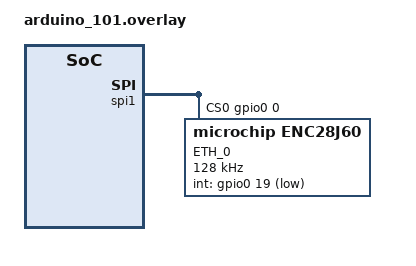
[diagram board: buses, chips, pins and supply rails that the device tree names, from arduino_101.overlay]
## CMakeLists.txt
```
# SPDX-License-Identifier: Apache-2.0

cmake_minimum_required(VERSION 3.28.0)

find_package(Zephyr REQUIRED HINTS $ENV{ZEPHYR_BASE})
project(sockets_echo_client)

if(CONFIG_NET_SOCKETS_SOCKOPT_TLS AND
   CONFIG_MBEDTLS_KEY_EXCHANGE_PSK_ENABLED AND
   (CONFIG_NET_SAMPLE_PSK_HEADER_FILE STREQUAL "dummy_psk.h"))
  add_custom_target(development_psk
    COMMAND ${CMAKE_COMMAND} -E echo "----------------------------------------------------------"
    COMMAND ${CMAKE_COMMAND} -E echo "--- WARNING: Using dummy PSK! Only suitable for        ---"
    COMMAND ${CMAKE_COMMAND} -E echo "--- development. Set NET_SAMPLE_PSK_HEADER_FILE to use ---"
    COMMAND ${CMAKE_COMMAND} -E echo "--- own pre-shared key.                                ---"
    COMMAND ${CMAKE_COMMAND} -E echo "----------------------------------------------------------"
  )
  add_dependencies(app development_psk)
endif()

target_sources(                     app PRIVATE src/echo-client.c)
target_sources_ifdef(CONFIG_NET_UDP app PRIVATE src/udp.c)
target_sources_ifdef(CONFIG_NET_TCP app PRIVATE src/tcp.c)

include(${ZEPHYR_BASE}/samples/net/common/common.cmake)

set(gen_dir ${ZEPHYR_BINARY_DIR}/include/generated/)

generate_inc_file_for_target(
    app
    src/echo-apps-cert.der
    ${gen_dir}/echo-apps-cert.der.inc
    )
```

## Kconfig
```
# Private config options for echo-client sample app

# Copyright (c) 2018 Intel Corporation
# SPDX-License-Identifier: Apache-2.0

mainmenu "Networking echo-client sample application"

config NET_SAMPLE_PSK_HEADER_FILE
	string "Header file containing PSK"
	default "dummy_psk.h"
	depends on MBEDTLS_KEY_EXCHANGE_PSK_ENABLED
	help
	  Name of a header file containing a
	  pre-shared key.

config NET_SAMPLE_SEND_ITERATIONS
	int "Send sample data this many times"
	default 0
	help
	  Send sample data this many times before exiting. A value of
	  zero means that the sample application is run forever.

source "samples/net/common/Kconfig"
source "Kconfig.zephyr"
```

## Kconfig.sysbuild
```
#
# Copyright (c) 2024 Nordic Semiconductor ASA
#
# SPDX-License-Identifier: Apache-2.0
#

config WIFI_NRF70
	default y if BOARD_NRF7002DK_NRF5340_CPUAPP || \
		     BOARD_NRF7002DK_NRF5340_CPUAPP_NS || \
		     BOARD_NRF7002DK_NRF5340_CPUAPP_NRF7001 || \
		     BOARD_NRF7002DK_NRF5340_CPUAPP_NRF7001_NS

source "${ZEPHYR_BASE}/share/sysbuild/Kconfig"
```

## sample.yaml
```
common:
  harness: net
  tags:
    - net
    - socket
  depends_on: netif
  min_flash: 140
sample:
  description: Test network sockets using a client/server sample
  name: Socket Echo Client
tests:
  sample.net.sockets.echo_client:
    platform_allow:
      - qemu_x86
      - frdm_k64f
      - sam_e70_xplained/same70q21
      - qemu_cortex_m3
      - frdm_kw41z
    integration_platforms:
      - qemu_x86
  sample.net.sockets.echo_client.802154:
    extra_args: EXTRA_CONF_FILE="overlay-qemu_802154.conf"
    platform_allow: qemu_x86
  sample.net.sockets.echo_client.802154.rf2xx:
    extra_args: EXTRA_CONF_FILE="overlay-802154.conf"
    platform_allow: samr21_xpro
  sample.net.sockets.echo_client.802154.rf2xx.xplained:
    extra_args:
      - SHIELD=atmel_rf2xx_xplained
      - EXTRA_CONF_FILE="overlay-802154.conf"
    platform_allow: sam4s_xplained
  sample.net.sockets.echo_client.802154.rf2xx.xpro:
    extra_args:
      - SHIELD=atmel_rf2xx_xpro
      - EXTRA_CONF_FILE="overlay-802154.conf"
    platform_allow:
      - sam4e_xpro
      - sam_v71_xult/samv71q21
    integration_platforms:
      - sam_v71_xult/samv71q21
  sample.net.sockets.echo_client.802154.rf2xx.legacy:
    extra_args:
      - SHIELD=atmel_rf2xx_legacy
      - EXTRA_CONF_FILE="overlay-802154.conf"
    platform_allow:
      - sam4e_xpro
      - sam_v71_xult/samv71q21
    integration_platforms:
      - sam_v71_xult/samv71q21
  sample.net.sockets.echo_client.802154.rf2xx.arduino:
    extra_args:
      - SHIELD=atmel_rf2xx_arduino
      - EXTRA_CONF_FILE="overlay-802154.conf"
    platform_allow:
      - sam_v71_xult/samv71q21
      - frdm_k64f
      - nucleo_f767zi
    integration_platforms:
      - sam_v71_xult/samv71q21
  sample.net.sockets.echo_client.802154.rf2xx.mikrobus:
    extra_args:
      - SHIELD=atmel_rf2xx_mikrobus
      - EXTRA_CONF_FILE="overlay-802154.conf"
    platform_allow: lpcxpresso55s69/lpc55s69/cpu0/ns
  sample.net.sockets.echo_client.mcr20a:
    extra_args:
      - SHIELD=frdm_cr20a
      - EXTRA_CONF_FILE=overlay-802154.conf
    platform_allow: frdm_k64f
  sample.net.sockets.echo_client.nrf_802154:
    extra_args: EXTRA_CONF_FILE="overlay-802154.conf"
    platform_allow: nrf52840dk/nrf52840
  sample.net.sockets.echo_client.openthread:
    extra_args: EXTRA_CONF_FILE="overlay-ot.conf"
    slow: true
    tags:
      - net
      - openthread
    platform_allow:
      - frdm_kw41z
      - frdm_mcxw71
      - frdm_mcxw72
      - nrf52840dk/nrf52840
      - tlsr9518adk80d
    filter: CONFIG_FULL_LIBC_SUPPORTED and not CONFIG_NATIVE_LIBC
  sample.net.sockets.echo_client.b91_802154:
    extra_args: EXTRA_CONF_FILE="overlay-802154.conf"
    platform_allow: tlsr9518adk80d
  sample.net.sockets.echo_client.rw612_openthread_rcp_host:
    build_only: true
    extra_args:
      # Disabling monolithic since CI environment doesn't use blobs
      - CONFIG_NXP_MONOLITHIC_NBU=n
      - EXTRA_CONF_FILE="overlay-ot-rcp-host-nxp.conf"
    slow: true
    tags:
      - net
      - openthread
    platform_allow:
      - frdm_rw612
      - rd_rw612_bga
    filter: CONFIG_FULL_LIBC_SUPPORTED and not CONFIG_NATIVE_LIBC
  sample.net.sockets.echo_client.userspace:
    extra_args:
      - CONFIG_USERSPACE=y
      - EXTRA_CONF_FILE="overlay-e1000.conf"
    platform_allow:
      - qemu_x86
      - qemu_x86_64
    integration_platforms:
      - qemu_x86
  sample.net.sockets.echo_client.802154.subg:
    extra_args: EXTRA_CONF_FILE="overlay-802154-subg.conf"
    platform_allow: beagleconnect_freedom
  sample.net.sockets.echo_client.wifi.nrf70dk:
    extra_args:
      - SNIPPET=wifi-ipv4
      - CONFIG_BUILD_ONLY_NO_BLOBS=y
    platform_allow:
      - nrf7002dk/nrf5340/cpuapp
```

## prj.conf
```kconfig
# Generic networking options
CONFIG_NETWORKING=y
CONFIG_NET_UDP=y
CONFIG_NET_TCP=y
CONFIG_NET_IPV6=y
CONFIG_NET_IPV4=y
CONFIG_NET_SOCKETS=y
CONFIG_ZVFS_POLL_MAX=5
CONFIG_NET_CONNECTION_MANAGER=y

CONFIG_POSIX_AEP_CHOICE_NETAPP=y
CONFIG_EVENTFD=y

# Kernel options
CONFIG_MAIN_STACK_SIZE=2048
CONFIG_ENTROPY_GENERATOR=y
CONFIG_TEST_RANDOM_GENERATOR=y
CONFIG_INIT_STACKS=y
CONFIG_MAX_THREAD_BYTES=3

# Logging
CONFIG_NET_LOG=y
CONFIG_LOG=y
CONFIG_NET_STATISTICS=y
CONFIG_PRINTK=y

# Network buffers
CONFIG_NET_PKT_RX_COUNT=16
CONFIG_NET_PKT_TX_COUNT=16
CONFIG_NET_BUF_RX_COUNT=80
CONFIG_NET_BUF_TX_COUNT=80
CONFIG_NET_CONTEXT_NET_PKT_POOL=y

# IP address options
CONFIG_NET_IF_UNICAST_IPV6_ADDR_COUNT=3
CONFIG_NET_IF_MCAST_IPV6_ADDR_COUNT=4
CONFIG_NET_MAX_CONTEXTS=10
CONFIG_NET_IF_MAX_IPV6_COUNT=3
CONFIG_NET_IF_MAX_IPV4_COUNT=3

# Network shell
CONFIG_NET_SHELL=y

# The addresses are selected so that qemu<->qemu connectivity works ok.
# For linux<->qemu connectivity, create a new conf file and swap the
# addresses (so that peer address is ending to 2).
CONFIG_NET_CONFIG_SETTINGS=y
CONFIG_NET_CONFIG_NEED_IPV6=y
CONFIG_NET_CONFIG_MY_IPV6_ADDR="2001:db8::2"
CONFIG_NET_CONFIG_PEER_IPV6_ADDR="2001:db8::1"
CONFIG_NET_CONFIG_NEED_IPV4=y
CONFIG_NET_CONFIG_MY_IPV4_ADDR="192.0.2.2"
CONFIG_NET_CONFIG_PEER_IPV4_ADDR="192.0.2.1"
CONFIG_SYSTEM_WORKQUEUE_STACK_SIZE=2048
```

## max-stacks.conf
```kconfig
CONFIG_NET_MGMT_EVENT_STACK_SIZE=65535
CONFIG_PRIVILEGED_STACK_SIZE=65535
CONFIG_NET_TX_STACK_SIZE=65535
CONFIG_NET_RX_STACK_SIZE=65535
CONFIG_SYSTEM_WORKQUEUE_STACK_SIZE=65535
CONFIG_MAIN_STACK_SIZE=65535
CONFIG_IDLE_STACK_SIZE=65535
CONFIG_ISR_STACK_SIZE=65535
CONFIG_LOG_PROCESS_THREAD_STACK_SIZE=65535
CONFIG_NET_CONNECTION_MANAGER_MONITOR_STACK_SIZE=65535
CONFIG_SHELL_STACK_SIZE=65535
```

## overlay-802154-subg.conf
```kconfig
CONFIG_BT=n

# Disable IPv4
CONFIG_NET_IPV4=n

CONFIG_NET_CONFIG_NEED_IPV6=y
CONFIG_NET_CONFIG_NEED_IPV4=n
CONFIG_NET_CONFIG_MY_IPV4_ADDR=""
CONFIG_NET_CONFIG_PEER_IPV4_ADDR=""
CONFIG_NET_CONFIG_MY_IPV6_ADDR="2001:db8::2"
CONFIG_NET_CONFIG_PEER_IPV6_ADDR="2001:db8::1"

CONFIG_NET_L2_IEEE802154=y
CONFIG_SHELL=y
CONFIG_NET_L2_IEEE802154_SHELL=y
CONFIG_NET_L2_IEEE802154_LOG_LEVEL_INF=y

# Uncomment for 868 MHz
#CONFIG_NET_CONFIG_IEEE802154_CHANNEL=0
# Uncomment for 906 MHz:
CONFIG_NET_CONFIG_IEEE802154_CHANNEL=1
```

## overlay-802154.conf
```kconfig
CONFIG_BT=n

# Disable TCP and IPv4 (TCP disabled to avoid heavy traffic)
CONFIG_NET_TCP=n
CONFIG_NET_IPV4=n

CONFIG_NET_CONFIG_NEED_IPV6=y
CONFIG_NET_CONFIG_NEED_IPV4=n
CONFIG_NET_CONFIG_MY_IPV4_ADDR=""
CONFIG_NET_CONFIG_PEER_IPV4_ADDR=""
CONFIG_NET_CONFIG_MY_IPV6_ADDR="2001:db8::2"
CONFIG_NET_CONFIG_PEER_IPV6_ADDR="2001:db8::1"

CONFIG_NET_L2_IEEE802154=y
CONFIG_SHELL=y
CONFIG_NET_L2_IEEE802154_SHELL=y
CONFIG_NET_L2_IEEE802154_LOG_LEVEL_INF=y

CONFIG_NET_CONFIG_IEEE802154_CHANNEL=26
```

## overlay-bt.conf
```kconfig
CONFIG_BT=y
CONFIG_LOG=y
CONFIG_BT_SMP=y
CONFIG_BT_PERIPHERAL=y
CONFIG_BT_CENTRAL=y
CONFIG_BT_L2CAP_DYNAMIC_CHANNEL=y
CONFIG_BT_DEVICE_NAME="Zephyr Echo Client"
CONFIG_NET_L2_BT=y
CONFIG_NET_IPV4=n
CONFIG_NET_IPV6=y
CONFIG_NET_CONFIG_BT_NODE=y
CONFIG_NET_CONFIG_NEED_IPV6=y
CONFIG_NET_CONFIG_NEED_IPV4=n
CONFIG_NET_CONFIG_MY_IPV4_ADDR=""
CONFIG_NET_CONFIG_PEER_IPV4_ADDR=""
CONFIG_NET_BUF_RX_COUNT=64
```

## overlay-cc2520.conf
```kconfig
CONFIG_NET_L2_IEEE802154=y

CONFIG_NET_IPV4=n
CONFIG_NET_CONFIG_NEED_IPV4=n
CONFIG_NET_CONFIG_MY_IPV4_ADDR=""
CONFIG_NET_CONFIG_PEER_IPV4_ADDR=""
```

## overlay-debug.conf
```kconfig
CONFIG_NO_OPTIMIZATIONS=y
CONFIG_DEBUG=y

CONFIG_ASSERT=y

CONFIG_STACK_SENTINEL=y
CONFIG_STACK_CANARIES=y
```

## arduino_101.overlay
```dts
/*
 * Copyright (c) 2018-2019 Linaro Limited
 *
 * SPDX-License-Identifier: Apache-2.0
 */

&spi1 {
	status = "okay";
	cs-gpios = <&gpio0 0 0>;

	enc28j60@0 {
		compatible = "microchip,enc28j60";
		spi-port-name = "SPI_1";
		local-mac-address = [00 00 00 00 00 00];
		spi-max-frequency = <128000>;
		int-gpios = <&gpio0 19 1>;
		status = "okay";
		label = "ETH_0";
		reg = <0>;
	};
};
```

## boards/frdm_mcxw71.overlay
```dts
/*
 * Copyright 2023-2025 NXP
 *
 * SPDX-License-Identifier: Apache-2.0
 */

&stcm {
	ranges = <0x0 0x30000000 DT_SIZE_K(112)>;

	stcm1: system_memory@1a000 {
		compatible = "zephyr,memory-region","mmio-sram";
		reg = <0x1a000 DT_SIZE_K(4)>;
		zephyr,memory-region = "RetainedMem";
	};
};

&stcm0 {
	/* With only the first 64KB having ECC */
	reg = <0x0 DT_SIZE_K(108)>;
};
```

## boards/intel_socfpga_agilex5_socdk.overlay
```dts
/*
 * Copyright (C) 2024 Intel Corporation
 * SPDX-License-Identifier: Apache-2.0
 */

/* The overlay file should be used to enable any
 * dts nodes required by this application for this
 * board.
 */

&xgmac0 {
	local-mac-address = [06 00 00 00 00 01];
	status = "okay";
};

&mdio0 {
	status = "okay";

	phy0: phy@0 {
		status = "okay";
	};
};
```

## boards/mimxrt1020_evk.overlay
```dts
/*
 * Copyright (c) 2024 DENX Software Engineering GmbH
 *               Lukasz Majewski <lukma@denx.de>
 *
 * SPDX-License-Identifier: Apache-2.0
 */

/*
 * imxrt1020_evk -> HOST
 * nRF21540-DK   -> RCP (nrf/samples/openthread/coprocessor)
 * LPUART2 used for communication:
 *         nRF21540 (P6) P0.08 RXD -> IMXRT1020-EVK (J17) D1 (GPIO B1 08) (TXD)
 *         nRF21540 (P6) P0.07 CTS -> IMXRT1020-EVK (J19) D8 (GPIO B1 07) (RTS)
 *         nRF21540 (P6) P0.06 TXD -> IMXRT1020-EVK (J17) D0 (GPIO B1 09) (RXD)
 *         nRF21540 (P6) P0.05 RTS -> IMXRT1020-EVK (J17) D7 (GPIO B1 06) (CTS)
 */

/**
 * Overlay to enable support for OpenThread's RCP UART communication
 * on the imxrt1020_evk board.
 */

/ {
	chosen {
		zephyr,hdlc-rcp-if = &hdlc_rcp_if;
		zephyr,ot-uart = &lpuart2;
	};

	hdlc_rcp_if: hdlc_rcp_if {
		compatible = "uart,hdlc-rcp-if";
	};
};

&lpuart2 {
	current-speed = <1000000>;
	pinctrl-0 = <&pinmux_lpuart2_flowcontrol>;
	pinctrl-1 = <&pinmux_lpuart2_sleep>;
	pinctrl-names = "default", "sleep";
	hw-flow-control;
	status = "okay";
};

/*
 * The lpuart2's CTS pin is mapped to PHY's int-gpio or to SDRAM EMC 20.
 * As SPINEL UART's implementation required CTS/RTS flow control -
 * the PHY's mdio interrupt needs to be disabled.
 */
&phy {
	/delete-property/ int-gpios;
};

&pinctrl {
	pinmux_lpuart2_flowcontrol: pinmux_lpuart2_flowcontrol {
		group0 {
			pinmux = <&iomuxc_gpio_ad_b1_09_lpuart2_rx>,
				 <&iomuxc_gpio_ad_b1_08_lpuart2_tx>,
				 <&iomuxc_gpio_ad_b1_06_lpuart2_cts_b>,
				 <&iomuxc_gpio_ad_b1_07_lpuart2_rts_b>;
			drive-strength = "r0-6";
			slew-rate = "slow";
			nxp,speed = "100-mhz";
		};
	};
};

/delete-node/ &{/soc/iomuxc@401f8000/pinctrl/pinmux_enet_mdio/group1};
```

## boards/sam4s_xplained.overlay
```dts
/*
 * Copyright (c) 2020 Gerson Fernando Budke
 *
 * SPDX-License-Identifier: Apache-2.0
 */

&spi0 {
        status = "okay";
        label = "SPI_RF2XX";
        cs-gpios = <&pioa 31 (GPIO_PULL_UP | GPIO_ACTIVE_LOW)>;
        pinctrl-0 = <&pa12a_spi_miso &pa13a_spi_mosi &pa14a_spi_spck &pa31a_spi_npcs1>;

        rf2xx@0 {
                compatible = "atmel,rf2xx";
                reg = <0x0>;
                label = "RF2XX_0";
                spi-max-frequency = <6000000>;
                irq-gpios = <&piob 2 (GPIO_PULL_DOWN | GPIO_ACTIVE_HIGH)>;
                reset-gpios = <&pioa 3 GPIO_ACTIVE_LOW>;
                slptr-gpios = <&piob 3 GPIO_ACTIVE_HIGH>;
                status = "okay";
        };
};
```

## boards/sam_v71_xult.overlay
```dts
/*
 * Copyright (c) 2020 Gerson Fernando Budke
 *
 * SPDX-License-Identifier: Apache-2.0
 */

&spi0 {
        status = "okay";
        label = "SPI_RF2XX";
        cs-gpios = <&piod 25 (GPIO_PULL_UP | GPIO_ACTIVE_LOW)>;
        pinctrl-0 = <&pc26c_spi1_miso &pc27c_spi1_mosi &pc24c_spi1_spck &pd25b_spi0_npcs1>;

        rf2xx@0 {
                compatible = "atmel,rf2xx";
                reg = <0x0>;
                label = "RF2XX_0";
                spi-max-frequency = <6000000>;
                irq-gpios = <&piob 0 (GPIO_PULL_DOWN | GPIO_ACTIVE_HIGH)>;
                reset-gpios = <&pioa 3 GPIO_ACTIVE_LOW>;
                slptr-gpios = <&piob 1 GPIO_ACTIVE_HIGH>;
                status = "okay";
        };
};
```

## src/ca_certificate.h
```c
/*
 * Copyright (c) 2018 Nordic Semiconductor ASA
 *
 * SPDX-License-Identifier: Apache-2.0
 */

#ifndef __CA_CERTIFICATE_H__
#define __CA_CERTIFICATE_H__

#define CA_CERTIFICATE_TAG 1
#define PSK_TAG 2

#define TLS_PEER_HOSTNAME "localhost"

/* This is the same cert as what is found in net-tools/echo-apps-cert.pem file
 */
static const unsigned char ca_certificate[] = {
#include "echo-apps-cert.der.inc"
};

#if defined(CONFIG_MBEDTLS_KEY_EXCHANGE_PSK_ENABLED)
#include CONFIG_NET_SAMPLE_PSK_HEADER_FILE
#endif

#endif /* __CA_CERTIFICATE_H__ */
```

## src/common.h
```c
/*
 * Copyright (c) 2017 Intel Corporation.
 * Copyright (c) 2018 Nordic Semiconductor ASA.
 *
 * SPDX-License-Identifier: Apache-2.0
 */

#include <zephyr/kernel.h>

#include <net_sample_common.h>

/* Value of 0 will cause the IP stack to select next free port */
#define MY_PORT 0

#define PEER_PORT 4242

/* Turn off the progress printing so that shell can be used.
 * Set to true if you want to see progress output.
 */
#define PRINT_PROGRESS false

#if defined(CONFIG_USERSPACE)
#include <zephyr/app_memory/app_memdomain.h>
extern struct k_mem_partition app_partition;
extern struct k_mem_domain app_domain;
#define APP_BMEM K_APP_BMEM(app_partition)
#define APP_DMEM K_APP_DMEM(app_partition)
#else
#define APP_BMEM
#define APP_DMEM
#endif

#if defined(CONFIG_NET_TC_THREAD_PREEMPTIVE)
#define THREAD_PRIORITY K_PRIO_PREEMPT(8)
#else
#define THREAD_PRIORITY K_PRIO_COOP(CONFIG_NUM_COOP_PRIORITIES - 1)
#endif

#define UDP_STACK_SIZE 2048

struct udp_control {
	struct k_poll_signal tx_signal;
	struct k_timer tx_timer;
	struct k_timer rx_timer;
};

struct sample_data {
	const char *proto;

	struct {
		int sock;
		uint32_t expecting;
		uint32_t counter;
		uint32_t mtu;
		struct udp_control *ctrl;
	} udp;

	struct {
		int sock;
		uint32_t expecting;
		uint32_t received;
		uint32_t counter;
	} tcp;
};

struct configs {
	struct sample_data ipv4;
	struct sample_data ipv6;
};

#if !defined(CONFIG_NET_CONFIG_PEER_IPV4_ADDR)
#define CONFIG_NET_CONFIG_PEER_IPV4_ADDR ""
#endif

#if !defined(CONFIG_NET_CONFIG_PEER_IPV6_ADDR)
#define CONFIG_NET_CONFIG_PEER_IPV6_ADDR ""
#endif

extern const char lorem_ipsum[];
extern const int ipsum_len;
extern struct configs conf;

#if defined(CONFIG_NET_UDP)
/* init_udp initializes kernel objects, hence it has to be called from
 * supervisor thread.
 */
void init_udp(void);
int start_udp(void);
int process_udp(void);
void stop_udp(void);
#else
static inline void init_udp(void) { }
static inline int start_udp(void) { return 0; }
static inline int process_udp(void) { return 0; }
static inline void stop_udp(void) { }
#endif /* defined(CONFIG_NET_UDP) */

int start_tcp(void);
int process_tcp(void);
void stop_tcp(void);
```

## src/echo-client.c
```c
/* echo-client.c - Networking echo client */

/*
 * Copyright (c) 2017 Intel Corporation.
 * Copyright (c) 2018 Nordic Semiconductor ASA.
 *
 * SPDX-License-Identifier: Apache-2.0
 */

/*
 * The echo-client application is acting as a client that is run in Zephyr OS,
 * and echo-server is run in the host acting as a server. The client will send
 * either unicast or multicast packets to the server which will reply the packet
 * back to the originator.
 *
 * In this sample application we create four threads that start to send data.
 * This might not be what you want to do in your app so caveat emptor.
 */

#include <zephyr/logging/log.h>
LOG_MODULE_REGISTER(net_echo_client_sample, LOG_LEVEL_DBG);

#include <zephyr/kernel.h>
#include <errno.h>
#include <stdio.h>

#include <zephyr/posix/sys/eventfd.h>
#include <zephyr/posix/arpa/inet.h>
#include <zephyr/posix/poll.h>

#include <zephyr/misc/lorem_ipsum.h>
#include <zephyr/net/socket.h>
#include <zephyr/net/tls_credentials.h>
#include <zephyr/net/net_if.h>
#include <zephyr/net/net_mgmt.h>
#include <zephyr/net/net_event.h>
#include <zephyr/net/conn_mgr_monitor.h>

#if defined(CONFIG_USERSPACE)
#include <zephyr/app_memory/app_memdomain.h>
K_APPMEM_PARTITION_DEFINE(app_partition);
struct k_mem_domain app_domain;
#endif

#include "common.h"
#include "ca_certificate.h"

#define APP_BANNER "Run echo client"

#define INVALID_SOCK (-1)

#define EVENT_MASK (NET_EVENT_L4_CONNECTED | \
		    NET_EVENT_L4_DISCONNECTED)
#define IPV6_EVENT_MASK (NET_EVENT_IPV6_ADDR_ADD | \
			 NET_EVENT_IPV6_ADDR_DEPRECATED)

const char lorem_ipsum[] = LOREM_IPSUM;

const int ipsum_len = sizeof(lorem_ipsum) - 1;

APP_DMEM struct configs conf = {
	.ipv4 = {
		.proto = "IPv4",
		.udp.sock = INVALID_SOCK,
		.tcp.sock = INVALID_SOCK,
	},
	.ipv6 = {
		.proto = "IPv6",
		.udp.sock = INVALID_SOCK,
		.tcp.sock = INVALID_SOCK,
	},
};

static APP_BMEM struct pollfd fds[1 + 4];
static APP_BMEM int nfds;

static APP_BMEM bool connected;
static APP_BMEM bool need_restart;

K_SEM_DEFINE(run_app, 0, 1);

static struct net_mgmt_event_callback mgmt_cb;
static struct net_mgmt_event_callback ipv6_mgmt_cb;

static void prepare_fds(void)
{
	nfds = 0;

	/* eventfd is used to trigger restart */
	fds[nfds].fd = eventfd(0, 0);
	fds[nfds].events = POLLIN;
	nfds++;

	if (conf.ipv4.udp.sock >= 0) {
		fds[nfds].fd = conf.ipv4.udp.sock;
		fds[nfds].events = POLLIN;
		nfds++;
	}

	if (conf.ipv4.tcp.sock >= 0) {
		fds[nfds].fd = conf.ipv4.tcp.sock;
		fds[nfds].events = POLLIN;
		nfds++;
	}

	if (conf.ipv6.udp.sock >= 0) {
		fds[nfds].fd = conf.ipv6.udp.sock;
		fds[nfds].events = POLLIN;
		nfds++;
	}

	if (conf.ipv6.tcp.sock >= 0) {
		fds[nfds].fd = conf.ipv6.tcp.sock;
		fds[nfds].events = POLLIN;
		nfds++;
	}
}

static void wait(void)
{
	int ret;

	/* Wait for event on any socket used. Once event occurs,
	 * we'll check them all.
	 */
	ret = poll(fds, nfds, -1);
	if (ret < 0) {
		static bool once;

		if (!once) {
			once = true;
			LOG_ERR("Error in poll:%d", errno);
		}

		return;
	}

	if (ret > 0 && fds[0].revents) {
		eventfd_t value;

		eventfd_read(fds[0].fd, &value);
		LOG_DBG("Received restart event.");
		return;
	}
}

static int start_udp_and_tcp(void)
{
	int ret;

	LOG_INF("Starting...");

	if (IS_ENABLED(CONFIG_NET_TCP)) {
		ret = start_tcp();
		if (ret < 0) {
			return ret;
		}
	}

	if (IS_ENABLED(CONFIG_NET_UDP)) {
		ret = start_udp();
		if (ret < 0) {
			return ret;
		}
	}

	prepare_fds();

	return 0;
}

static int run_udp_and_tcp(void)
{
	int ret;

	wait();

	if (IS_ENABLED(CONFIG_NET_TCP)) {
		ret = process_tcp();
		if (ret < 0) {
			return ret;
		}
	}

	if (IS_ENABLED(CONFIG_NET_UDP)) {
		ret = process_udp();
		if (ret < 0) {
			return ret;
		}
	}

	return 0;
}

static void stop_udp_and_tcp(void)
{
	LOG_INF("Stopping...");

	if (IS_ENABLED(CONFIG_NET_UDP)) {
		stop_udp();
	}

	if (IS_ENABLED(CONFIG_NET_TCP)) {
		stop_tcp();
	}
}

static int check_our_ipv6_sockets(int sock,
				  struct in6_addr *deprecated_addr)
{
	struct sockaddr_in6 addr = { 0 };
	socklen_t addrlen = sizeof(addr);
	int ret;

	if (sock < 0) {
		return -EINVAL;
	}

	ret = getsockname(sock, (struct sockaddr *)&addr, &addrlen);
	if (ret != 0) {
		return -errno;
	}

	if (!net_ipv6_addr_cmp(deprecated_addr, &addr.sin6_addr)) {
		return -ENOENT;
	}

	need_restart = true;

	return 0;
}

static void ipv6_event_handler(struct net_mgmt_event_callback *cb,
			       uint64_t mgmt_event, struct net_if *iface)
{
	static char addr_str[INET6_ADDRSTRLEN];

	if (!IS_ENABLED(CONFIG_NET_IPV6_PE)) {
		return;
	}

	if ((mgmt_event & IPV6_EVENT_MASK) != mgmt_event) {
		return;
	}

	if (cb->info == NULL ||
	    cb->info_length != sizeof(struct in6_addr)) {
		return;
	}

	if (mgmt_event == NET_EVENT_IPV6_ADDR_ADD) {
		struct net_if_addr *ifaddr;
		struct in6_addr added_addr;

		memcpy(&added_addr, cb->info, sizeof(struct in6_addr));

		ifaddr = net_if_ipv6_addr_lookup(&added_addr, &iface);
		if (ifaddr == NULL) {
			return;
		}

		/* Wait until we get a temporary address before continuing after
		 * boot.
		 */
		if (ifaddr->is_temporary) {
			static bool once;

			LOG_INF("Temporary IPv6 address %s added",
				inet_ntop(AF_INET6, &added_addr, addr_str,
					  sizeof(addr_str) - 1));

			if (!once) {
				k_sem_give(&run_app);
				once = true;
			}
		}
	}

	if (mgmt_event == NET_EVENT_IPV6_ADDR_DEPRECATED) {
		struct in6_addr deprecated_addr;

		memcpy(&deprecated_addr, cb->info, sizeof(struct in6_addr));

		LOG_INF("IPv6 address %s deprecated",
			inet_ntop(AF_INET6, &deprecated_addr, addr_str,
				  sizeof(addr_str) - 1));

		(void)check_our_ipv6_sockets(conf.ipv6.tcp.sock,
					     &deprecated_addr);
		(void)check_our_ipv6_sockets(conf.ipv6.udp.sock,
					     &deprecated_addr);

		if (need_restart) {
			eventfd_write(fds[0].fd, 1);
		}

		return;
	}
}

static void event_handler(struct net_mgmt_event_callback *cb,
			  uint64_t mgmt_event, struct net_if *iface)
{
	if ((mgmt_event & EVENT_MASK) != mgmt_event) {
		return;
	}

	if (mgmt_event == NET_EVENT_L4_CONNECTED) {
		LOG_INF("Network connected");

		connected = true;
		conf.ipv4.udp.mtu = net_if_get_mtu(iface);
		conf.ipv6.udp.mtu = conf.ipv4.udp.mtu;

		if (!IS_ENABLED(CONFIG_NET_IPV6_PE)) {
			k_sem_give(&run_app);
		}

		return;
	}

	if (mgmt_event == NET_EVENT_L4_DISCONNECTED) {
		LOG_INF("Network disconnected");

		connected = false;
		k_sem_reset(&run_app);

		return;
	}
}

static void init_app(void)
{
	LOG_INF(APP_BANNER);

#if defined(CONFIG_USERSPACE)
	struct k_mem_partition *parts[] = {
#if Z_LIBC_PARTITION_EXISTS
		&z_libc_partition,
#endif
		&app_partition
	};

	int ret = k_mem_domain_init(&app_domain, ARRAY_SIZE(parts), parts);

	__ASSERT(ret == 0, "k_mem_domain_init() failed %d", ret);
	ARG_UNUSED(ret);
#endif

#if defined(CONFIG_NET_SOCKETS_SOCKOPT_TLS)
	int err = tls_credential_add(CA_CERTIFICATE_TAG,
				    TLS_CREDENTIAL_CA_CERTIFICATE,
				    ca_certificate,
				    sizeof(ca_certificate));
	if (err < 0) {
		LOG_ERR("Failed to register public certificate: %d", err);
	}

#if defined(CONFIG_MBEDTLS_KEY_EXCHANGE_PSK_ENABLED)
	err = tls_credential_add(PSK_TAG,
				TLS_CREDENTIAL_PSK,
				psk,
				sizeof(psk));
	if (err < 0) {
		LOG_ERR("Failed to register PSK: %d", err);
	}
	err = tls_credential_add(PSK_TAG,
				TLS_CREDENTIAL_PSK_ID,
				psk_id,
				sizeof(psk_id) - 1);
	if (err < 0) {
		LOG_ERR("Failed to register PSK ID: %d", err);
	}
#endif /* defined(CONFIG_MBEDTLS_KEY_EXCHANGE_PSK_ENABLED) */
#endif /* defined(CONFIG_NET_SOCKETS_SOCKOPT_TLS) */


	if (IS_ENABLED(CONFIG_NET_CONNECTION_MANAGER)) {
		net_mgmt_init_event_callback(&mgmt_cb,
					     event_handler, EVENT_MASK);
		net_mgmt_add_event_callback(&mgmt_cb);

		conn_mgr_mon_resend_status();
	}

	net_mgmt_init_event_callback(&ipv6_mgmt_cb,
				     ipv6_event_handler, IPV6_EVENT_MASK);
	net_mgmt_add_event_callback(&ipv6_mgmt_cb);

	init_vlan();
	init_udp();
}

static void start_client(void *p1, void *p2, void *p3)
{
	ARG_UNUSED(p1);
	ARG_UNUSED(p2);
	ARG_UNUSED(p3);

	int iterations = CONFIG_NET_SAMPLE_SEND_ITERATIONS;
	int i = 0;
	int ret;

	while (iterations == 0 || i < iterations) {
		/* Wait for the connection. */
		k_sem_take(&run_app, K_FOREVER);

		if (IS_ENABLED(CONFIG_NET_IPV6_PE)) {
			/* Make sure that we have a temporary address */
			k_sleep(K_SECONDS(1));
		}

		do {
			if (need_restart) {
				/* Close all sockets and get a fresh restart */
				stop_udp_and_tcp();
				need_restart = false;
			}

			ret = start_udp_and_tcp();

			while (connected && (ret == 0)) {
				ret = run_udp_and_tcp();

				if (iterations > 0) {
					i++;
					if (i >= iterations) {
						break;
					}
				}

				if (need_restart) {
					break;
				}
			}
		} while (need_restart);

		stop_udp_and_tcp();
	}
}

int main(void)
{
	init_app();

	if (!IS_ENABLED(CONFIG_NET_CONNECTION_MANAGER)) {
		/* If the config library has not been configured to start the
		 * app only after we have a connection, then we can start
		 * it right away.
		 */
		connected = true;
		k_sem_give(&run_app);
	}

	k_thread_priority_set(k_current_get(), THREAD_PRIORITY);

#if defined(CONFIG_USERSPACE)
	k_thread_access_grant(k_current_get(), &run_app);
	k_mem_domain_add_thread(&app_domain, k_current_get());

	k_thread_user_mode_enter(start_client, NULL, NULL, NULL);
#else
	start_client(NULL, NULL, NULL);
#endif
	return 0;
}
```

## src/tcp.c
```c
/* tcp.c - TCP specific code for echo client */

/*
 * Copyright (c) 2017 Intel Corporation.
 * Copyright (c) 2018 Nordic Semiconductor ASA.
 *
 * SPDX-License-Identifier: Apache-2.0
 */

#include <zephyr/logging/log.h>
LOG_MODULE_DECLARE(net_echo_client_sample, LOG_LEVEL_DBG);

#include <zephyr/kernel.h>
#include <errno.h>
#include <stdio.h>

#include <zephyr/posix/sys/socket.h>
#include <zephyr/posix/arpa/inet.h>
#include <zephyr/posix/unistd.h>

#include <zephyr/net/socket.h>
#include <zephyr/net/tls_credentials.h>
#include <zephyr/random/random.h>

#include "common.h"
#include "ca_certificate.h"

#define RECV_BUF_SIZE 128

/* These proxy server addresses are only used when CONFIG_SOCKS
 * is enabled. To connect to a proxy server that is not running
 * under the same IP as the peer or uses a different port number,
 * modify the values.
 */
#define SOCKS5_PROXY_V6_ADDR CONFIG_NET_CONFIG_PEER_IPV6_ADDR
#define SOCKS5_PROXY_V4_ADDR CONFIG_NET_CONFIG_PEER_IPV4_ADDR
#define SOCKS5_PROXY_PORT 1080

static ssize_t sendall(int sock, const void *buf, size_t len)
{
	while (len) {
		ssize_t out_len = send(sock, buf, len, 0);

		if (out_len < 0) {
			return out_len;
		}
		buf = (const char *)buf + out_len;
		len -= out_len;
	}

	return 0;
}

static int send_tcp_data(struct sample_data *data)
{
	int ret;

	do {
		data->tcp.expecting = sys_rand32_get() % ipsum_len;
	} while (data->tcp.expecting == 0U);

	data->tcp.received = 0U;

	ret =  sendall(data->tcp.sock, lorem_ipsum, data->tcp.expecting);

	if (ret < 0) {
		LOG_ERROR("%s TCP: Failed to send data, errno %d", data->proto, errno);
	} else {
		if (PRINT_PROGRESS) {
			LOG_DBG("%s TCP: Sent %d bytes", data->proto,
				data->tcp.expecting);
		}
	}

	return ret;
}

static int compare_tcp_data(struct sample_data *data, const char *buf, uint32_t received)
{
	if (data->tcp.received + received > data->tcp.expecting) {
		LOG_ERROR("Too much data received: TCP %s", data->proto);
		return -EIO;
	}

	if (memcmp(buf, lorem_ipsum + data->tcp.received, received) != 0) {
		LOG_ERROR("Invalid data received: TCP %s", data->proto);
		return -EIO;
	}

	return 0;
}

static int start_tcp_proto(struct sample_data *data, sa_family_t family,
			   struct sockaddr *addr, socklen_t addrlen)
{
	int optval;
	int ret;

#if defined(CONFIG_NET_SOCKETS_SOCKOPT_TLS)
	data->tcp.sock = socket(family, SOCK_STREAM, IPPROTO_TLS_1_2);
#else
	data->tcp.sock = socket(family, SOCK_STREAM, IPPROTO_TCP);
#endif
	if (data->tcp.sock < 0) {
		LOG_ERROR("Failed to create TCP socket (%s): %d", data->proto, errno);
		return -errno;
	}

	if (IS_ENABLED(CONFIG_SOCKS)) {
		struct sockaddr proxy_addr;
		socklen_t proxy_addrlen;

		if (family == AF_INET) {
			struct sockaddr_in *proxy4 =
				(struct sockaddr_in *)&proxy_addr;

			proxy4->sin_family = AF_INET;
			proxy4->sin_port = htons(SOCKS5_PROXY_PORT);
			inet_pton(AF_INET, SOCKS5_PROXY_V4_ADDR,
				  &proxy4->sin_addr);
			proxy_addrlen = sizeof(struct sockaddr_in);
		} else if (family == AF_INET6) {
			struct sockaddr_in6 *proxy6 =
				(struct sockaddr_in6 *)&proxy_addr;

			proxy6->sin6_family = AF_INET6;
			proxy6->sin6_port = htons(SOCKS5_PROXY_PORT);
			inet_pton(AF_INET6, SOCKS5_PROXY_V6_ADDR,
				  &proxy6->sin6_addr);
			proxy_addrlen = sizeof(struct sockaddr_in6);
		} else {
			return -EINVAL;
		}

		ret = setsockopt(data->tcp.sock, SOL_SOCKET, SO_SOCKS5,
				 &proxy_addr, proxy_addrlen);
		if (ret < 0) {
			return ret;
		}
	}

#if defined(CONFIG_NET_SOCKETS_SOCKOPT_TLS)
	sec_tag_t sec_tag_list[] = {
		CA_CERTIFICATE_TAG,
#if defined(CONFIG_MBEDTLS_KEY_EXCHANGE_PSK_ENABLED)
		PSK_TAG,
#endif
	};

	ret = setsockopt(data->tcp.sock, SOL_TLS, TLS_SEC_TAG_LIST,
			 sec_tag_list, sizeof(sec_tag_list));
	if (ret < 0) {
		LOG_ERROR("Failed to set TLS_SEC_TAG_LIST option (%s): %d", data->proto, errno);
		ret = -errno;
	}

	ret = setsockopt(data->tcp.sock, SOL_TLS, TLS_HOSTNAME,
			 TLS_PEER_HOSTNAME, sizeof(TLS_PEER_HOSTNAME));
	if (ret < 0) {
		LOG_ERROR("Failed to set TLS_HOSTNAME option (%s): %d", data->proto, errno);
		ret = -errno;
	}
#endif

	/* Prefer IPv6 temporary addresses */
	if (family == AF_INET6) {
		optval = IPV6_PREFER_SRC_TMP;
		(void)setsockopt(data->tcp.sock, IPPROTO_IPV6,
				 IPV6_ADDR_PREFERENCES,
				 &optval, sizeof(optval));
	}

	ret = connect(data->tcp.sock, addr, addrlen);
	if (ret < 0) {
		LOG_ERROR("Cannot connect to TCP remote (%s): %d", data->proto, errno);
		ret = -errno;
	}

	return ret;
}

static int process_tcp_proto(struct sample_data *data)
{
	int ret, received;
	char buf[RECV_BUF_SIZE];

	do {
		received = recv(data->tcp.sock, buf, sizeof(buf), MSG_DONTWAIT);

		/* No data or error. */
		if (received == 0) {
			ret = -EIO;
			continue;
		} else if (received < 0) {
			if (errno == EAGAIN || errno == EWOULDBLOCK) {
				ret = 0;
			} else {
				ret = -errno;
			}
			continue;
		}

		ret = compare_tcp_data(data, buf, received);
		if (ret != 0) {
			break;
		}

		/* Successful comparison. */
		data->tcp.received += received;
		if (data->tcp.received < data->tcp.expecting) {
			continue;
		}

		if (PRINT_PROGRESS) {
			/* Response complete */
			LOG_DBG("%s TCP: Received and compared %d bytes, all ok",
				data->proto, data->tcp.received);
		}

		if (++data->tcp.counter % 1000 == 0U) {
			LOG_INF("%s TCP: Exchanged %u packets", data->proto,
				data->tcp.counter);
		}

		ret = send_tcp_data(data);
		break;
	} while (received > 0);

	return ret;
}

int start_tcp(void)
{
	int ret = 0;
	struct sockaddr_in addr4;
	struct sockaddr_in6 addr6;

	if (IS_ENABLED(CONFIG_NET_IPV6)) {
		addr6.sin6_family = AF_INET6;
		addr6.sin6_port = htons(PEER_PORT);
		inet_pton(AF_INET6, CONFIG_NET_CONFIG_PEER_IPV6_ADDR,
			  &addr6.sin6_addr);

		ret = start_tcp_proto(&conf.ipv6, AF_INET6,
				      (struct sockaddr *)&addr6,
				      sizeof(addr6));
		if (ret < 0) {
			return ret;
		}
	}

	if (IS_ENABLED(CONFIG_NET_IPV4)) {
		addr4.sin_family = AF_INET;
		addr4.sin_port = htons(PEER_PORT);
		inet_pton(AF_INET, CONFIG_NET_CONFIG_PEER_IPV4_ADDR,
			  &addr4.sin_addr);

		ret = start_tcp_proto(&conf.ipv4, AF_INET,
				      (struct sockaddr *)&addr4,
				      sizeof(addr4));
		if (ret < 0) {
			return ret;
		}
	}

	if (IS_ENABLED(CONFIG_NET_IPV6)) {
		ret = send_tcp_data(&conf.ipv6);
		if (ret < 0) {
			return ret;
		}
	}

	if (IS_ENABLED(CONFIG_NET_IPV4)) {
		ret = send_tcp_data(&conf.ipv4);
	}

	return ret;
}

int process_tcp(void)
{
	int ret = 0;

	if (IS_ENABLED(CONFIG_NET_IPV6)) {
		ret = process_tcp_proto(&conf.ipv6);
		if (ret < 0) {
			return ret;
		}
	}

	if (IS_ENABLED(CONFIG_NET_IPV4)) {
		ret = process_tcp_proto(&conf.ipv4);
		if (ret < 0) {
			return ret;
		}
	}

	return ret;
}

void stop_tcp(void)
{
	if (IS_ENABLED(CONFIG_NET_IPV6)) {
		if (conf.ipv6.tcp.sock >= 0) {
			(void)close(conf.ipv6.tcp.sock);
		}
	}

	if (IS_ENABLED(CONFIG_NET_IPV4)) {
		if (conf.ipv4.tcp.sock >= 0) {
			(void)close(conf.ipv4.tcp.sock);
		}
	}
}
```

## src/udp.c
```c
/* udp.c - UDP specific code for echo client */

/*
 * Copyright (c) 2017 Intel Corporation.
 * Copyright (c) 2018 Nordic Semiconductor ASA.
 *
 * SPDX-License-Identifier: Apache-2.0
 */

#include <zephyr/logging/log.h>
LOG_MODULE_DECLARE(net_echo_client_sample, LOG_LEVEL_DBG);

#include <zephyr/kernel.h>
#include <errno.h>
#include <stdio.h>

#include <zephyr/posix/sys/socket.h>
#include <zephyr/posix/arpa/inet.h>
#include <zephyr/posix/unistd.h>

#include <zephyr/net/socket.h>
#include <zephyr/net/tls_credentials.h>
#include <zephyr/random/random.h>

#include "common.h"
#include "ca_certificate.h"

#define RECV_BUF_SIZE 1280
#define UDP_SLEEP K_MSEC(150)
#define UDP_WAIT K_SECONDS(10)

static APP_BMEM char recv_buf[RECV_BUF_SIZE];

static K_THREAD_STACK_DEFINE(udp_tx_thread_stack, UDP_STACK_SIZE);
static struct k_thread udp_tx_thread;

/* Kernel objects should not be placed in a memory area accessible from user
 * threads.
 */
static struct udp_control udp4_ctrl, udp6_ctrl;
static struct k_poll_signal udp_kill;

static int send_udp_data(struct sample_data *data);
static void wait_reply(struct k_timer *timer);
static void wait_transmit(struct k_timer *timer);

static void process_udp_tx(void *p1, void *p2, void *p3)
{
	ARG_UNUSED(p1);
	ARG_UNUSED(p2);
	ARG_UNUSED(p3);

	struct k_poll_event events[] = {
		K_POLL_EVENT_INITIALIZER(K_POLL_TYPE_SIGNAL,
					 K_POLL_MODE_NOTIFY_ONLY,
					 &udp_kill),
#if defined(CONFIG_NET_IPV4)
		K_POLL_EVENT_INITIALIZER(K_POLL_TYPE_SIGNAL,
					 K_POLL_MODE_NOTIFY_ONLY,
					 &udp4_ctrl.tx_signal),
#endif
#if defined(CONFIG_NET_IPV6)
		K_POLL_EVENT_INITIALIZER(K_POLL_TYPE_SIGNAL,
					 K_POLL_MODE_NOTIFY_ONLY,
					 &udp6_ctrl.tx_signal),
#endif
	};

	while (true) {
		k_poll(events, ARRAY_SIZE(events), K_FOREVER);

		for (int i = 0; i < ARRAY_SIZE(events); i++) {
			unsigned int signaled;
			int result;

			k_poll_signal_check(events[i].signal, &signaled, &result);
			if (signaled == 0) {
				continue;
			}

			k_poll_signal_reset(events[i].signal);
			events[i].state = K_POLL_STATE_NOT_READY;

			if (events[i].signal == &udp_kill) {
				return;
			} else if (events[i].signal == &udp4_ctrl.tx_signal) {
				send_udp_data(&conf.ipv4);
			} else if (events[i].signal == &udp6_ctrl.tx_signal) {
				send_udp_data(&conf.ipv6);
			}
		}
	}
}

static void udp_control_init(struct udp_control *ctrl)
{
	k_timer_init(&ctrl->rx_timer, wait_reply, NULL);
	k_timer_init(&ctrl->tx_timer, wait_transmit, NULL);
	k_poll_signal_init(&ctrl->tx_signal);
}

static void udp_control_access_grant(struct udp_control *ctrl)
{
	k_thread_access_grant(k_current_get(),
			      &ctrl->rx_timer,
			      &ctrl->tx_timer,
			      &ctrl->tx_signal);
}

void init_udp(void)
{
	/* k_timer_init() is not a system call, therefore initialize kernel
	 * objects here.
	 */
	if (IS_ENABLED(CONFIG_NET_IPV4)) {
		udp_control_init(&udp4_ctrl);
		conf.ipv4.udp.ctrl = &udp4_ctrl;
	}

	if (IS_ENABLED(CONFIG_NET_IPV6)) {
		udp_control_init(&udp6_ctrl);
		conf.ipv6.udp.ctrl = &udp6_ctrl;
	}

	k_poll_signal_init(&udp_kill);

	if (IS_ENABLED(CONFIG_USERSPACE)) {
		k_thread_access_grant(k_current_get(),
				      &udp_tx_thread,
				      &udp_tx_thread_stack,
				      &udp_kill);

		if (IS_ENABLED(CONFIG_NET_IPV4)) {
			udp_control_access_grant(&udp4_ctrl);
		}

		if (IS_ENABLED(CONFIG_NET_IPV6)) {
			udp_control_access_grant(&udp6_ctrl);
		}
	}
}

static int send_udp_data(struct sample_data *data)
{
	int ret;

	do {
		data->udp.expecting = sys_rand32_get() % ipsum_len;
	} while (data->udp.expecting == 0U ||
		 data->udp.expecting > data->udp.mtu);

	ret = send(data->udp.sock, lorem_ipsum, data->udp.expecting, 0);

	if (PRINT_PROGRESS) {
		LOG_DBG("%s UDP: Sent %d bytes", data->proto, data->udp.expecting);
	}

	k_timer_start(&data->udp.ctrl->rx_timer, UDP_WAIT, K_NO_WAIT);

	return ret < 0 ? -EIO : 0;
}

static int compare_udp_data(struct sample_data *data, const char *buf, uint32_t received)
{
	if (received != data->udp.expecting) {
		LOG_ERR("Invalid amount of data received: UDP %s", data->proto);
		return -EIO;
	}

	if (memcmp(buf, lorem_ipsum, received) != 0) {
		LOG_ERR("Invalid data received: UDP %s", data->proto);
		return -EIO;
	}

	return 0;
}

static void wait_reply(struct k_timer *timer)
{
	/* This means that we did not receive response in time. */
	struct udp_control *ctrl = CONTAINER_OF(timer, struct udp_control, rx_timer);
	struct sample_data *data = (ctrl == conf.ipv4.udp.ctrl) ? &conf.ipv4 : &conf.ipv6;

	LOG_ERR("UDP %s: Data packet not received", data->proto);

	/* Send a new packet at this point */
	k_poll_signal_raise(&ctrl->tx_signal, 0);
}

static void wait_transmit(struct k_timer *timer)
{
	struct udp_control *ctrl = CONTAINER_OF(timer, struct udp_control, tx_timer);

	k_poll_signal_raise(&ctrl->tx_signal, 0);
}

static int start_udp_proto(struct sample_data *data, sa_family_t family,
			   struct sockaddr *addr, socklen_t addrlen)
{
	int optval;
	int ret;

#if defined(CONFIG_NET_SOCKETS_SOCKOPT_TLS)
	data->udp.sock = socket(family, SOCK_DGRAM, IPPROTO_DTLS_1_2);
#else
	data->udp.sock = socket(family, SOCK_DGRAM, IPPROTO_UDP);
#endif
	if (data->udp.sock < 0) {
		LOG_ERR("Failed to create UDP socket (%s): %d", data->proto,
			errno);
		return -errno;
	}

#if defined(CONFIG_NET_SOCKETS_SOCKOPT_TLS)
	sec_tag_t sec_tag_list[] = {
		CA_CERTIFICATE_TAG,
#if defined(CONFIG_MBEDTLS_KEY_EXCHANGE_PSK_ENABLED)
		PSK_TAG,
#endif
	};

	ret = setsockopt(data->udp.sock, SOL_TLS, TLS_SEC_TAG_LIST,
			 sec_tag_list, sizeof(sec_tag_list));
	if (ret < 0) {
		LOG_ERR("Failed to set TLS_SEC_TAG_LIST option (%s): %d",
			data->proto, errno);
		ret = -errno;
	}

	ret = setsockopt(data->udp.sock, SOL_TLS, TLS_HOSTNAME,
			 TLS_PEER_HOSTNAME, sizeof(TLS_PEER_HOSTNAME));
	if (ret < 0) {
		LOG_ERR("Failed to set TLS_HOSTNAME option (%s): %d",
			data->proto, errno);
		ret = -errno;
	}
#endif

	/* Prefer IPv6 temporary addresses */
	if (family == AF_INET6) {
		optval = IPV6_PREFER_SRC_TMP;
		(void)setsockopt(data->udp.sock, IPPROTO_IPV6,
				 IPV6_ADDR_PREFERENCES,
				 &optval, sizeof(optval));
	}

	/* Call connect so we can use send and recv. */
	ret = connect(data->udp.sock, addr, addrlen);
	if (ret < 0) {
		LOG_ERR("Cannot connect to UDP remote (%s): %d", data->proto,
			errno);
		ret = -errno;
	}

	return ret;
}

static int process_udp_proto(struct sample_data *data)
{
	int ret, received;

	received = recv(data->udp.sock, recv_buf, sizeof(recv_buf),
			MSG_DONTWAIT);

	if (received == 0) {
		return -EIO;
	}
	if (received < 0) {
		if (errno == EAGAIN || errno == EWOULDBLOCK) {
			ret = 0;
		} else {
			ret = -errno;
		}
		return ret;
	}

	ret = compare_udp_data(data, recv_buf, received);
	if (ret != 0) {
		LOG_WRN("%s UDP: Received and compared %d bytes, data "
			"mismatch", data->proto, received);
		return 0;
	}

	if (PRINT_PROGRESS) {
		/* Correct response received */
		LOG_DBG("%s UDP: Received and compared %d bytes, all ok",
			data->proto, received);
	}

	if (++data->udp.counter % 1000 == 0U) {
		LOG_INF("%s UDP: Exchanged %u packets", data->proto,
			data->udp.counter);
	}

	k_timer_stop(&data->udp.ctrl->rx_timer);

	/* Do not flood the link if we have also TCP configured */
	if (IS_ENABLED(CONFIG_NET_TCP)) {
		k_timer_start(&data->udp.ctrl->tx_timer, UDP_SLEEP, K_NO_WAIT);
	} else {
		k_poll_signal_raise(&data->udp.ctrl->tx_signal, 0);
	}

	return ret;
}

int start_udp(void)
{
	int ret = 0;
	struct sockaddr_in addr4;
	struct sockaddr_in6 addr6;

	if (IS_ENABLED(CONFIG_NET_IPV6)) {
		addr6.sin6_family = AF_INET6;
		addr6.sin6_port = htons(PEER_PORT);
		inet_pton(AF_INET6, CONFIG_NET_CONFIG_PEER_IPV6_ADDR,
			  &addr6.sin6_addr);

		ret = start_udp_proto(&conf.ipv6, AF_INET6,
				      (struct sockaddr *)&addr6,
				      sizeof(addr6));
		if (ret < 0) {
			return ret;
		}
	}

	if (IS_ENABLED(CONFIG_NET_IPV4)) {
		addr4.sin_family = AF_INET;
		addr4.sin_port = htons(PEER_PORT);
		inet_pton(AF_INET, CONFIG_NET_CONFIG_PEER_IPV4_ADDR,
			  &addr4.sin_addr);

		ret = start_udp_proto(&conf.ipv4, AF_INET,
				      (struct sockaddr *)&addr4,
				      sizeof(addr4));
		if (ret < 0) {
			return ret;
		}
	}

	k_thread_create(&udp_tx_thread, udp_tx_thread_stack,
			K_THREAD_STACK_SIZEOF(udp_tx_thread_stack),
			process_udp_tx,
			NULL, NULL, NULL, THREAD_PRIORITY,
			IS_ENABLED(CONFIG_USERSPACE) ?
						K_USER | K_INHERIT_PERMS : 0,
			K_NO_WAIT);

	k_thread_name_set(&udp_tx_thread, "udp_tx");

	if (IS_ENABLED(CONFIG_NET_IPV6)) {
		k_poll_signal_raise(&conf.ipv6.udp.ctrl->tx_signal, 0);
	}

	if (IS_ENABLED(CONFIG_NET_IPV4)) {
		k_poll_signal_raise(&conf.ipv4.udp.ctrl->tx_signal, 0);
	}

	return ret;
}

int process_udp(void)
{
	int ret = 0;

	if (IS_ENABLED(CONFIG_NET_IPV6)) {
		ret = process_udp_proto(&conf.ipv6);
		if (ret < 0) {
			return ret;
		}
	}

	if (IS_ENABLED(CONFIG_NET_IPV4)) {
		ret = process_udp_proto(&conf.ipv4);
		if (ret < 0) {
			return ret;
		}
	}

	return ret;
}

void stop_udp(void)
{
	if (IS_ENABLED(CONFIG_NET_IPV6)) {
		k_timer_stop(&udp6_ctrl.tx_timer);
		k_timer_stop(&udp6_ctrl.rx_timer);

		if (conf.ipv6.udp.sock >= 0) {
			(void)close(conf.ipv6.udp.sock);
		}
	}

	if (IS_ENABLED(CONFIG_NET_IPV4)) {
		k_timer_stop(&udp4_ctrl.tx_timer);
		k_timer_stop(&udp4_ctrl.rx_timer);

		if (conf.ipv4.udp.sock >= 0) {
			(void)close(conf.ipv4.udp.sock);
		}
	}

	k_poll_signal_raise(&udp_kill, 0);
}
```

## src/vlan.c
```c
/*
 * Copyright (c) 2018 Intel Corporation.
 *
 * SPDX-License-Identifier: Apache-2.0
 */

#include <zephyr/logging/log.h>
LOG_MODULE_DECLARE(net_echo_client_sample, LOG_LEVEL_DBG);

#include <zephyr/kernel.h>

#include <zephyr/net/ethernet.h>

/* User data for the interface callback */
struct ud {
	struct net_if *first;
	struct net_if *second;
};

static void iface_cb(struct net_if *iface, void *user_data)
{
	struct ud *ud = user_data;

	if (net_if_l2(iface) != &NET_L2_GET_NAME(VIRTUAL)) {
		return;
	}

	if (!ud->first) {
		ud->first = iface;
		return;
	}

	if (!ud->second) {
		ud->second = iface;
		return;
	}
}

static int setup_iface(struct net_if *eth_iface,
		       struct net_if *iface,
		       const char *ipv6_addr,
		       const char *ipv4_addr,
		       uint16_t vlan_tag)
{
	struct net_if_addr *ifaddr;
	struct in_addr addr4;
	struct in6_addr addr6;
	int ret;

	ret = net_eth_vlan_enable(eth_iface, vlan_tag);
	if (ret < 0) {
		LOG_ERR("Cannot enable VLAN for tag %d (%d)", vlan_tag, ret);
	}

	if (net_addr_pton(AF_INET6, ipv6_addr, &addr6)) {
		LOG_ERR("Invalid address: %s", ipv6_addr);
		return -EINVAL;
	}

	ifaddr = net_if_ipv6_addr_add(iface, &addr6, NET_ADDR_MANUAL, 0);
	if (!ifaddr) {
		LOG_ERR("Cannot add %s to interface %p", ipv6_addr, iface);
		return -EINVAL;
	}

	if (net_addr_pton(AF_INET, ipv4_addr, &addr4)) {
		LOG_ERR("Invalid address: %s", ipv4_addr);
		return -EINVAL;
	}

	ifaddr = net_if_ipv4_addr_add(iface, &addr4, NET_ADDR_MANUAL, 0);
	if (!ifaddr) {
		LOG_ERR("Cannot add %s to interface %p", ipv4_addr, iface);
		return -EINVAL;
	}

	LOG_DBG("Interface %p VLAN tag %d setup done.", iface, vlan_tag);

	return 0;
}

int init_vlan(void)
{
	struct net_if *iface;
	struct ud ud;
	int ret;

	if (CONFIG_NET_VLAN_COUNT == 0) {
		LOG_DBG("No VLAN interfaces defined.");
		return 0;
	}

	iface = net_if_get_first_by_type(&NET_L2_GET_NAME(ETHERNET));
	if (!iface) {
		LOG_ERR("No ethernet interfaces found.");
		return -ENOENT;
	}

	memset(&ud, 0, sizeof(ud));

	net_if_foreach(iface_cb, &ud);

	ret = setup_iface(iface, ud.first,
			  CONFIG_NET_SAMPLE_IFACE2_MY_IPV6_ADDR,
			  CONFIG_NET_SAMPLE_IFACE2_MY_IPV4_ADDR,
			  CONFIG_NET_SAMPLE_IFACE2_VLAN_TAG);
	if (ret < 0) {
		return ret;
	}

	ret = setup_iface(iface, ud.second,
			  CONFIG_NET_SAMPLE_IFACE3_MY_IPV6_ADDR,
			  CONFIG_NET_SAMPLE_IFACE3_MY_IPV4_ADDR,
			  CONFIG_NET_SAMPLE_IFACE3_VLAN_TAG);
	if (ret < 0) {
		return ret;
	}

	/* Bring up the VLAN interface automatically */
	net_if_up(ud.first);
	net_if_up(ud.second);

	return 0;
}
```
